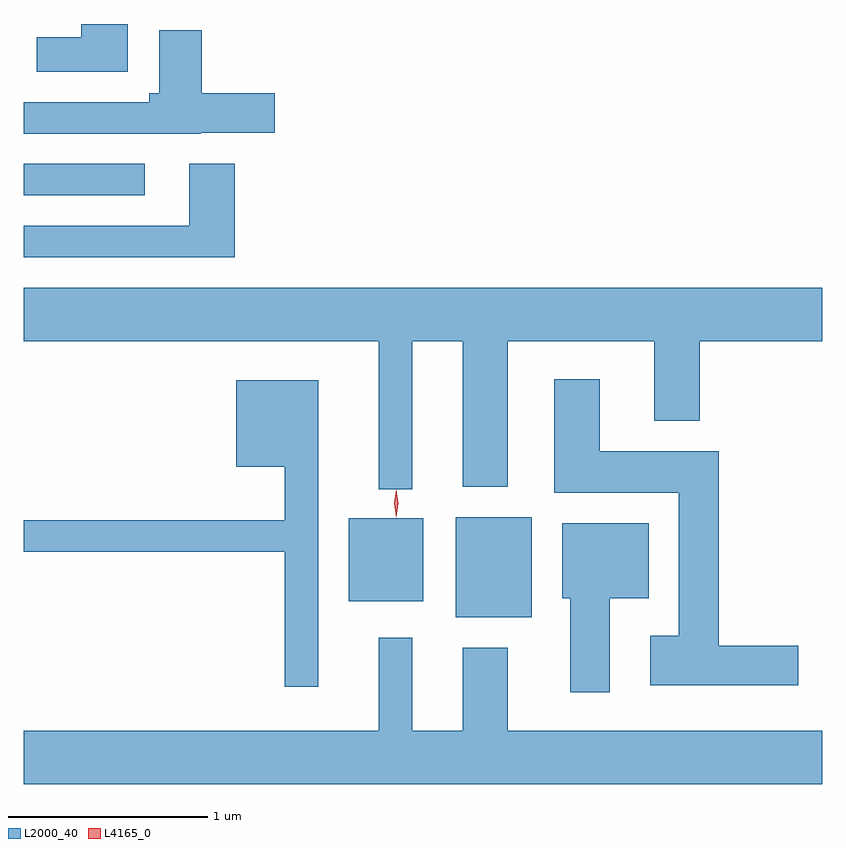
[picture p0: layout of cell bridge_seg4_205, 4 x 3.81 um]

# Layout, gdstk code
import gdstk
lib = gdstk.Library(unit=1e-6, precision=1e-09)
def R(c, l, rs):  # rectangles x0, y0, x1, y1
    for r in rs: c.add(gdstk.rectangle(r[:2], r[2:], *l))
def P(c, l, *ps):  # polygons
    for p in ps: c.add(gdstk.Polygon(p, *l))
L2000_40 = (2000, 40)
L4165_0 = (4165, 0)

bridge_seg4_205 = lib.new_cell('bridge_seg4_205')
R(bridge_seg4_205, L2000_40, [(1071.466,1260.051,1071.849,1260.554), (1070.931,1260.131,1071.304,1260.549), (1069.303,1262.166,1069.908,1262.324)])
P(bridge_seg4_205, L2000_40, [(1069.824,1263.025),(1069.591,1263.025),(1069.591,1262.959),(1069.366,1262.959),(1069.366,1262.786),(1069.824,1262.786)],
  [(1070.19,1262.481),(1070.559,1262.481),(1070.559,1262.679),(1070.194,1262.679),(1070.194,1262.994),(1069.981,1262.994),(1069.981,1262.679),(1069.931,1262.679),(1069.931,1262.634),(1069.303,1262.634),(1069.303,1262.476),(1070.19,1262.476)],
  [(1070.359,1262.324),(1070.131,1262.324),(1070.131,1262.014),(1069.303,1262.014),(1069.303,1261.856),(1070.359,1261.856)],
  [(1069.303,1261.436),(1071.081,1261.436),(1071.081,1260.693),(1071.249,1260.693),(1071.249,1261.436),(1071.501,1261.436),(1071.501,1260.706),(1071.729,1260.706),(1071.729,1261.436),(1072.461,1261.436),(1072.461,1261.036),(1072.689,1261.036),(1072.689,1261.436),(1073.303,1261.436),(1073.303,1261.704),(1069.303,1261.704)],
  [(1073.184,1259.909),(1072.784,1259.909),(1072.784,1260.884),(1072.189,1260.884),(1072.189,1261.244),(1071.961,1261.244),(1071.961,1260.676),(1072.586,1260.676),(1072.586,1259.959),(1072.441,1259.959),(1072.441,1259.711),(1073.184,1259.711)],
  [(1070.779,1261.239),(1070.366,1261.239),(1070.366,1260.806),(1070.611,1260.806),(1070.611,1260.539),(1069.303,1260.539),(1069.303,1260.381),(1070.611,1260.381),(1070.611,1259.703),(1070.779,1259.703)],
  [(1072.239,1260.146),(1072.434,1260.146),(1072.434,1260.524),(1072.001,1260.524),(1072.001,1260.146),(1072.041,1260.146),(1072.041,1259.676),(1072.239,1259.676)],
  [(1073.303,1259.484),(1071.729,1259.484),(1071.729,1259.899),(1071.501,1259.899),(1071.501,1259.484),(1071.249,1259.484),(1071.249,1259.948),(1071.081,1259.948),(1071.081,1259.484),(1069.303,1259.484),(1069.303,1259.216),(1073.303,1259.216)])
P(bridge_seg4_205, L4165_0, [(1071.17,1260.558),(1071.169,1260.559),(1071.159,1260.622),(1071.168,1260.686),(1071.169,1260.687),(1071.169,1260.686),(1071.179,1260.623),(1071.17,1260.559)],
  [(1071.169,1260.554),(1071.169,1260.554),(1071.159,1260.622),(1071.168,1260.69),(1071.169,1260.69),(1071.169,1260.69),(1071.179,1260.622),(1071.17,1260.554)])

lib.write_gds('bridge_seg4_205.gds')
